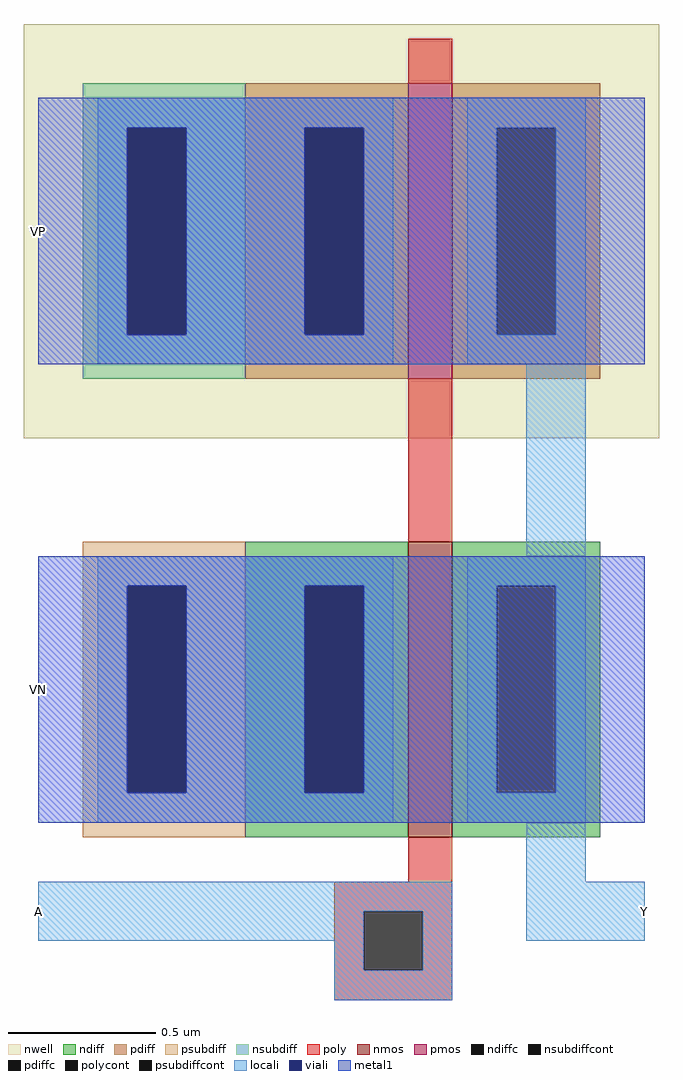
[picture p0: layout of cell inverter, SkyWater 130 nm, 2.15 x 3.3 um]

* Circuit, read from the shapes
.subckt inverter A Y VP VN
XM1 Y A VN VN sky130_fd_pr__nfet_01v8 w=1 l=0.15
XM2 Y A VP VP sky130_fd_pr__pfet_01v8 w=1 l=0.15
.ends

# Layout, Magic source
magic
tech sky130A
<< nwell >>
rect -190 0 25 140
<< nmos >>
rect -60 -135 -45 -35
<< pmos >>
rect -60 20 -45 120
<< ndiff >>
rect -115 -50 -60 -35
rect -115 -120 -95 -50
rect -75 -120 -60 -50
rect -115 -135 -60 -120
rect -45 -50 5 -35
rect -45 -120 -30 -50
rect -10 -120 5 -50
rect -45 -135 5 -120
<< pdiff >>
rect -115 105 -60 120
rect -115 35 -95 105
rect -75 35 -60 105
rect -115 20 -60 35
rect -45 105 5 120
rect -45 35 -30 105
rect -10 35 5 105
rect -45 20 5 35
<< ndiffc >>
rect -95 -120 -75 -50
rect -30 -120 -10 -50
<< pdiffc >>
rect -95 35 -75 105
rect -30 35 -10 105
<< psubdiff >>
rect -170 -50 -115 -35
rect -170 -120 -155 -50
rect -135 -120 -115 -50
rect -170 -135 -115 -120
<< nsubdiff >>
rect -170 105 -115 120
rect -170 35 -155 105
rect -135 35 -115 105
rect -170 20 -115 35
<< psubdiffcont >>
rect -155 -120 -135 -50
<< nsubdiffcont >>
rect -155 35 -135 105
<< poly >>
rect -60 120 -45 135
rect -60 -35 -45 20
rect -60 -150 -45 -135
rect -85 -160 -45 -150
rect -85 -180 -75 -160
rect -55 -180 -45 -160
rect -85 -190 -45 -180
<< polycont >>
rect -75 -180 -55 -160
<< locali >>
rect -165 105 -65 115
rect -165 35 -155 105
rect -135 35 -95 105
rect -75 35 -65 105
rect -165 25 -65 35
rect -40 105 0 115
rect -40 35 -30 105
rect -10 35 0 105
rect -40 25 0 35
rect -20 -40 0 25
rect -165 -50 -65 -40
rect -165 -120 -155 -50
rect -135 -120 -95 -50
rect -75 -120 -65 -50
rect -165 -130 -65 -120
rect -40 -50 0 -40
rect -40 -120 -30 -50
rect -10 -120 0 -50
rect -40 -130 0 -120
rect -20 -150 0 -130
rect -185 -160 -45 -150
rect -185 -170 -75 -160
rect -85 -180 -75 -170
rect -55 -180 -45 -160
rect -20 -170 20 -150
rect -85 -190 -45 -180
<< viali >>
rect -155 35 -135 105
rect -95 35 -75 105
rect -155 -120 -135 -50
rect -95 -120 -75 -50
<< metal1 >>
rect -185 105 20 115
rect -185 35 -155 105
rect -135 35 -95 105
rect -75 35 20 105
rect -185 25 20 35
rect -185 -50 20 -40
rect -185 -120 -155 -50
rect -135 -120 -95 -50
rect -75 -120 20 -50
rect -185 -130 20 -120
<< labels >>
rlabel locali -185 -160 -185 -160 7 A
port 1 w
rlabel locali 20 -160 20 -160 3 Y
port 2 e
rlabel metal1 -185 70 -185 70 7 VP
port 3 w
rlabel metal1 -185 -85 -185 -85 7 VN
port 4 w
<< end >>
